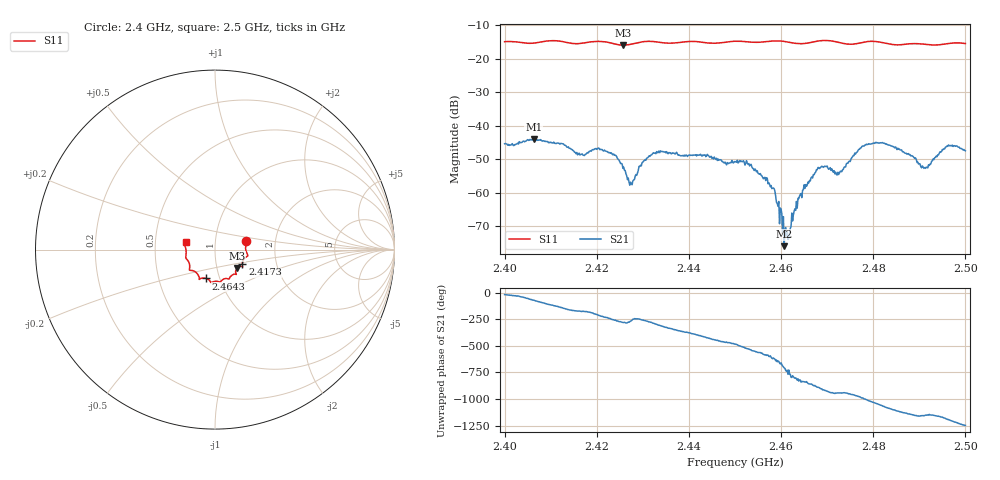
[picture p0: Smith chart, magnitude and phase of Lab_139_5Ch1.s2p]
# Hz S RI R 50
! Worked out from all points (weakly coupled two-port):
!   601 points, 2.4 GHz to 2.5 GHz, reference 50 ohm
!   highest |S21| = -44.09 dB at 2.4063 GHz (marker M1); lowest = -76.0 dB at 2.4607 GHz (marker M2)
!   lowest |S11| = -15.9 dB at 2.4257 GHz (marker M3), VSWR 1.38, Z = 62.5 - j13.1 ohm
!   |S11| at or under -10 dB: start of sweep to end of sweep
!   S12 and S22 are empty: the file has one direction only
!   S11 on the Smith chart (normalised r, x): 2.4 GHz: 1.41, +0.14; 2.4173 GHz: 1.34, -0.23; 2.4643 GHz: 0.86, -0.28; 2.5 GHz: 0.72, +0.06
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2.4e9  0.1732 0.0492  0.0051 -0.0017  0 0  0 0
2.406333e9  0.1716 -0.00263  0.00197 -0.00593  0 0  0 0
2.416667e9  0.1531 -0.0746  -0.00373 -0.000122  0 0  0 0
2.417333e9  0.1522 -0.0822  -0.00358 -0.000125  0 0  0 0
2.420833e9  0.1543 -0.0966  -0.00343 0.00284  0 0  0 0
2.425667e9  0.1227 -0.1024  0.000408 0.00227  0 0  0 0
2.4275e9  0.1153 -0.1189  -0.000117 0.00136  0 0  0 0
2.433333e9  0.1129 -0.1368  0.0023 0.00323  0 0  0 0
2.45e9  0.0293 -0.1806  -0.00161 -0.00241  0 0  0 0
2.457333e9  -0.0152 -0.1815  -0.000706 0.00121  0 0  0 0
2.459e9  -0.0217 -0.184  4.73e-05 0.000715  0 0  0 0
2.460667e9  -0.0251 -0.18  0.000154 3.45e-05  0 0  0 0
2.461667e9  -0.0284 -0.1746  0.000207 -2.72e-05  0 0  0 0
2.464333e9  -0.05 -0.1606  -0.000517 -0.000819  0 0  0 0
2.466667e9  -0.076 -0.1595  -0.00134 -0.00107  0 0  0 0
2.469167e9  -0.0876 -0.1663  -0.00231 0.000565  0 0  0 0
2.472667e9  -0.0895 -0.1502  -0.0014 0.00137  0 0  0 0
2.478e9  -0.1349 -0.1159  0.000794 0.00488  0 0  0 0
2.483333e9  -0.1408 -0.09  0.00508 -0.000716  0 0  0 0
2.491333e9  -0.1613 -0.0315  0.000685 -0.0022  0 0  0 0
2.496167e9  -0.1673 0.0204  -0.00194 -0.0045  0 0  0 0
2.5e9  -0.1639 0.0419  -0.00414 -0.000774  0 0  0 0
